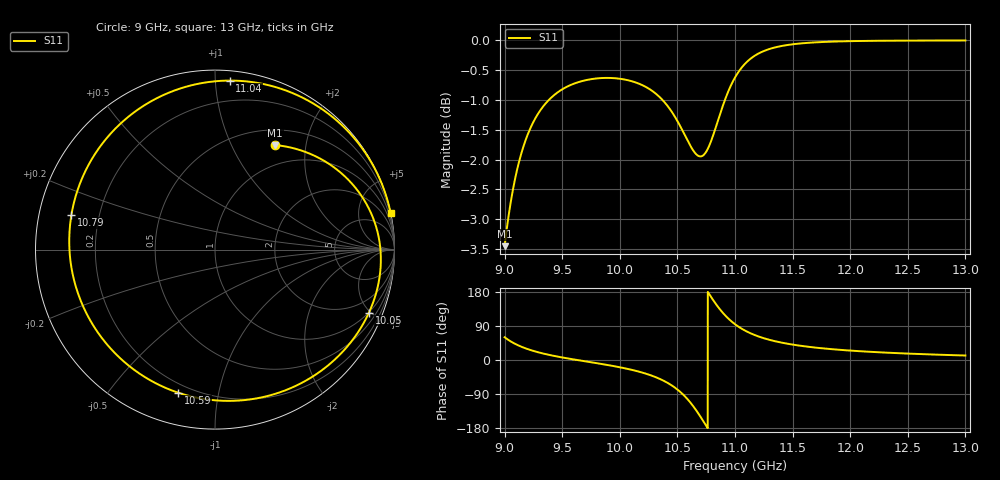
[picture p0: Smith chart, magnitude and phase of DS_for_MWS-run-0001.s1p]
! TOUCHSTONE file generated by CST DESIGN STUDIO
! Date and time: Tue Feb  4 14:36:56 2025
! Project name: C:\Work\MatlabApps\UnitCellOptimizationMatlab\CST\unitcell.cst
! Tree item: Tasks\Sweep1\SPara1\S-Parameters
! Header version: 2024
! Port assignment regex: !\s*Touchstone port\s*([0-9]+)\s*=\s*(CST MWS port|CST DES external port|CST DES block port)\s*(.+)\s* \(\"(.*)\"\)(\s*mode\s*([0-9]+))?.*
! Touchstone port assignment:
! Touchstone port 1 = CST DES external port 1 ("")
# GHz S MA R 50
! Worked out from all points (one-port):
!   4001 points, 9 GHz to 13 GHz, reference 50 ohm
!   lowest |S11| = -3.5 dB at 9 GHz (marker M1), VSWR 5.10, Z = 35.1 + j74.6 ohm
!   |S11| at or under -10 dB: nowhere
!   S11 on the Smith chart (normalised r, x): 9 GHz: 0.70, +1.49; 10.05 GHz: 0.98, -4.89; 10.59 GHz: 0.15, -0.76; 10.79 GHz: 0.10, +0.12; 11.04 GHz: 0.06, +1.09; 13 GHz: 0.01, +9.66
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9  0.6722 60.1
9.105  0.7765 40.5
9.207  0.8367 28.0
9.336  0.8805 17.0
9.5  0.9098 6.7
9.754  0.9279 -6.1
10  0.9286 -19.2
10.05  0.9268 -22.3
10.197  0.917 -33.4
10.315  0.9018 -45.7
10.413  0.8815 -60.0
10.5  0.8558 -77.9
10.591  0.8232 -104.4
10.65  0.8053 -127.1
10.709  0.7995 -153.8
10.751  0.8068 -174.0
10.792  0.8231 166.4
10.845  0.8523 143.2
10.893  0.8805 125.0
10.943  0.9068 109.1
11  0.9308 94.5
11.045  0.9452 85.0
11.135  0.9652 70.5
11.236  0.9782 58.8
11.5  0.9924 40.6
12  0.9984 24.8
12.5  0.9995 16.9
13  0.9998 11.8
